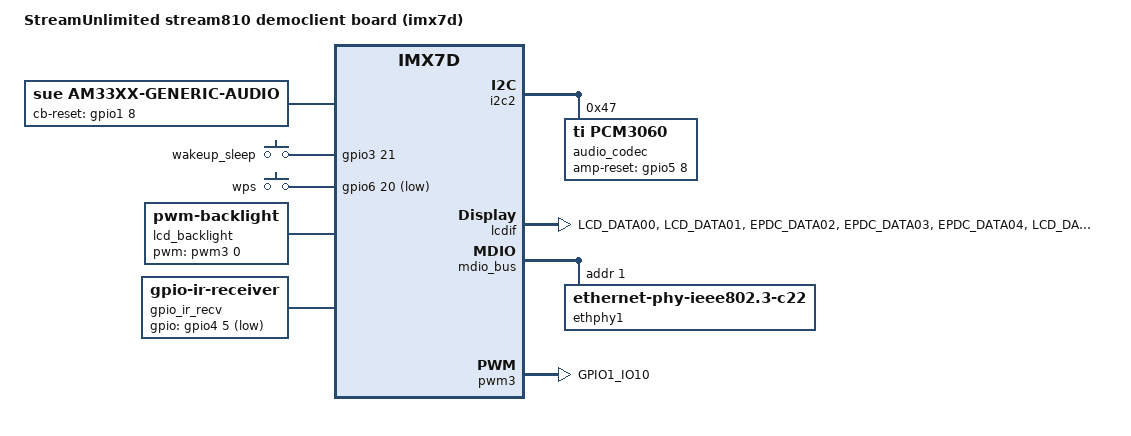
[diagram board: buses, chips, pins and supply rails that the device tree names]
/*
 * This program is free software; you can redistribute it and/or modify
 * it under the terms of the GNU General Public License version 2 as
 * published by the Free Software Foundation.
 */

#include <dt-bindings/input/input.h>

/ {
	model = "StreamUnlimited stream810 democlient board (imx7d)";
	compatible = "sue,stream810-demo", "sue,stream810", "fsl,imx7d";

	audio {
		pinctrl-names = "default";
		pinctrl-0 = <&pinctrl_audio>;

		compatible = "sue,am33xx-generic-audio";
		sue,card-name = "Stream Audio on imx7";

		clocks = <&clks IMX7D_AUDIO_MCLK_ROOT_CLK>,
			 <&clks IMX7D_AUDIO_MCLK_ROOT_CLK>,
			 <&clks IMX7D_PLL_AUDIO_POST_DIV>;
		clock-names = "mclk", "mclk_rx", "pll";

		assigned-clocks = <&clks IMX7D_AUDIO_MCLK_ROOT_SRC>,
				  <&clks IMX7D_AUDIO_MCLK_ROOT_CLK>;
		assigned-clock-parents = <&clks IMX7D_PLL_AUDIO_POST_DIV>;
		assigned-clock-rates = <0>, <24576000>;

		sue,cb-reset-gpio = <&gpio1 8 0>;
		sue,early-mclk;

		links {
			sai1_link: link@0 {
				sue,name = "analog";
				sue,stream-name = "I2S";

				sue,platform = <&sai1>;
				sue,cpu-dai-name = "308a0000.sai";
				sue,codec = <&audio_codec>;
				sue,codec-dai-name = "pcm3060-hifi";
			};
		};
	};

	gpio_keys {
		compatible = "gpio-keys";
		#address-cells = <1>;
		#size-cells = <0>;
		pinctrl-names = "default";
		pinctrl-0 = <&pinctrl_gpio_keys>;

		button@1 {
			label = "wakeup_sleep";
			linux,code = <KEY_SLEEP>;
			gpios = <&gpio3 21 GPIO_ACTIVE_HIGH>;
			gpio-key,wakeup;
		};

		button@2 {
			label = "wps";
			linux,code = <KEY_WPS_BUTTON>;
			gpios = <&gpio6 20 GPIO_ACTIVE_LOW>;
		};
	};

	lcd_backlight {
		compatible = "pwm-backlight";
		pwms = <&pwm3 0 5000000>;
		brightness-levels = <0 3 5 8 10 13 15 18 20 23 26 28 31 33 36 38 41 43 46 48 51 54 56 59 61 64 66 69 71 74
			77 79 82 84 87 89 92 94 97 99 102 105 107 110 112 115 117 120 122 125 127 130 133 135 138 140 143 145 148 150
			153 156 158 161 163 166 168 171 173 176 179 181 184 186 189 191 194 196 199 201 204 207 209 212 214 217 219 222 224 227
			229 232 235 237 240 242 245 247 250 252 255>;
		default-brightness-level = <100>;
		status = "okay";
	};

	gpio_ir_recv {
		compatible = "gpio-ir-receiver";
		pinctrl-names = "default";
		pinctrl-0 = <&pinctrl_ir_recv>;

		gpios = <&gpio4 5 GPIO_ACTIVE_LOW>;
		linux,rc-map-name = "rc-philips";
	};
};

/*
 * FEC1 is disabled per default on the stream810 module for the democlient because the
 * reset_n pin `MX7D_PAD_LCD_DATA15__GPIO3_IO20` collides with `MX7D_PAD_LCD_DATA15__LCD_DATA15`.
 * If you want to enable FEC1, make sure you remove LCD_DATA15 from the LCD pinmux and have the
 * apropriate hardware rework.
 */
&fec1 {
	pinctrl-names = "default";
	pinctrl-0 = <&pinctrl_enet1>;
	status = "disabled";
	pinctrl-assert-gpios = <&gpio1 11 GPIO_ACTIVE_LOW>;


	assigned-clocks = <&clks IMX7D_ENET1_TIME_ROOT_SRC>,
			  <&clks IMX7D_ENET1_TIME_ROOT_CLK>,
			  <&clks IMX7D_ENET1_REF_ROOT_SRC>,
			  <&clks IMX7D_ENET1_REF_ROOT_CLK>;
	assigned-clock-parents = <&clks IMX7D_PLL_ENET_MAIN_100M_CLK>, <0>, <&clks IMX7D_PLL_ENET_MAIN_50M_CLK>, <0>;
	assigned-clock-rates = <0>, <100000000>, <0>, <50000000>;

	/* Override this list so we can change the last one (enet_out) */
	clocks = <&clks IMX7D_ENET_AXI_ROOT_CLK>,
		 <&clks IMX7D_ENET_AXI_ROOT_CLK>,
		 <&clks IMX7D_ENET1_TIME_ROOT_CLK>,
		 <&clks IMX7D_PLL_ENET_MAIN_125M_CLK>,
		 <&clks IMX7D_ENET1_REF_ROOT_CLK>;

	phy-mode = "rmii";

	phy-reset-gpios = <&gpio3 20 GPIO_ACTIVE_LOW>;
	phy-reset-duration = <10>;

	phy-handle = <&ethphy1>;
};

&i2c2 {
	audio_codec: pcm3060@47 {
		pinctrl-names = "default";
		pinctrl-0 = <&pinctrl_codec>;

		compatible = "ti,pcm3060";
		reg = <0x47>;

		sue,amp-reset-gpio = <&gpio5 8 0>;
	};
};

/*
 * NOTES for the last number in every line:
 * 	PAD_CTL_PUS_100K_DOWN	(0 << 5)
 * 	PAD_CTL_PUS_5K_UP	(1 << 5)
 * 	PAD_CTL_PUS_47K_UP	(2 << 5)
 * 	PAD_CTL_PUS_100K_UP	(3 << 5)
 * 	PAD_CTL_PUE		(1 << 4)
 * 	PAD_CTL_HYS		(1 << 3)
 * 	PAD_CTL_SRE_SLOW	(1 << 2)
 * 	PAD_CTL_SRE_FAST	(0 << 2)
 * 	PAD_CTL_DSE_X1		(0 << 0) \
 * 	PAD_CTL_DSE_X2		(2 << 0)  |___ NOTE: the numbering here is not a typo!
 * 	PAD_CTL_DSE_X4		(1 << 0)  |
 * 	PAD_CTL_DSE_X6		(3 << 0) /
 * 	NO_PAD_CTL		(1 << 31): indicate this pin does not need config.
 * 	SIO			(1 << 30): Software Input On Field.
 */
&iomuxc {
	imx7d-sue-demo {
		pinctrl_audio: audiogrp {
			fsl,pins = <
				MX7D_PAD_GPIO1_IO08__GPIO1_IO8	0x00	/* CODEC_NRESET */
			>;
		};

		pinctrl_codec: codecgrp {
			fsl,pins = <
				MX7D_PAD_SD1_DATA3__GPIO5_IO8	0x00	/* AMP mute */
			>;
		};

		pinctrl_enet1: enet1grp {
			fsl,pins = <
				MX7D_PAD_ENET1_RGMII_TX_CTL__ENET1_RGMII_TX_CTL	0x1
				MX7D_PAD_ENET1_RGMII_TD0__ENET1_RGMII_TD0	0x1
				MX7D_PAD_ENET1_RGMII_TD1__ENET1_RGMII_TD1	0x1

				MX7D_PAD_ENET1_RGMII_RX_CTL__ENET1_RGMII_RX_CTL	0x1
				MX7D_PAD_ENET1_RGMII_RD0__ENET1_RGMII_RD0	0x1
				MX7D_PAD_ENET1_RGMII_RD1__ENET1_RGMII_RD1	0x1
				MX7D_PAD_ENET1_RGMII_RXC__ENET1_RX_ER		0x1

				MX7D_PAD_ENET1_TX_CLK__CCM_ENET_REF_CLK1	0x40000001

				/* IRQ */
				MX7D_PAD_GPIO1_IO11__GPIO1_IO11			0x80000000
				/* nRESET pin */
				MX7D_PAD_LCD_DATA15__GPIO3_IO20			0x80000000
			>;
		};

		pinctrl_gpio_keys: gpiokeysgrp {
			fsl,pins = <
				MX7D_PAD_LCD_DATA16__GPIO3_IO21			0x00		/* BUTTON_SENSE */

				/*
				 * I2S_BCLK_OUT2 (now used for the WPS button since
				 * the GPIO1_IO0 pad from before is now used for the watchdog reset.
				 */
				MX7D_PAD_SAI2_TX_BCLK__GPIO6_IO20		0xF0		/* 100k pull-up */
			>;
		};

		pinctrl_ir_recv: irrecvgrp {
			fsl,pins = <
				MX7D_PAD_UART3_TX_DATA__GPIO4_IO5		0x00
			>;
		};

		pinctrl_lcdif_ctrl: lcdifctrlgrp {
			fsl,pins = <
				MX7D_PAD_LCD_CLK__LCD_CLK	0x14
				MX7D_PAD_LCD_HSYNC__LCD_HSYNC	0x14
				MX7D_PAD_LCD_VSYNC__LCD_VSYNC	0x14
				MX7D_PAD_EPDC_BDR1__LCD_ENABLE	0x14
			>;
		};

		pinctrl_lcdif_dat: lcdifdatgrp {
			fsl,pins = <
				MX7D_PAD_LCD_DATA00__LCD_DATA0	0x14
				MX7D_PAD_LCD_DATA01__LCD_DATA1	0x14
				MX7D_PAD_EPDC_DATA02__LCD_DATA2 0x14
				MX7D_PAD_EPDC_DATA03__LCD_DATA3 0x14
				MX7D_PAD_EPDC_DATA04__LCD_DATA4 0x14
				MX7D_PAD_LCD_DATA05__LCD_DATA5	0x14
				MX7D_PAD_LCD_DATA06__LCD_DATA6	0x14
				MX7D_PAD_LCD_DATA07__LCD_DATA7	0x14
				MX7D_PAD_LCD_DATA08__LCD_DATA8	0x14
				MX7D_PAD_LCD_DATA09__LCD_DATA9	0x14
				MX7D_PAD_LCD_DATA10__LCD_DATA10	0x14
				MX7D_PAD_LCD_DATA11__LCD_DATA11	0x14
				MX7D_PAD_LCD_DATA12__LCD_DATA12	0x14
				MX7D_PAD_LCD_DATA13__LCD_DATA13	0x14
				MX7D_PAD_LCD_DATA14__LCD_DATA14	0x14
				MX7D_PAD_LCD_DATA15__LCD_DATA15	0x14
			>;
		};

		pinctrl_pwm3: pwm3grp {
			fsl,pins = <
				MX7D_PAD_GPIO1_IO10__PWM3_OUT	0x14
			>;
		};
	};
};

&iomuxc_lpsr {
	imx7d-sue-demo {
	};
};

&lcdif {
	pinctrl-names = "default";
	pinctrl-0 = <&pinctrl_lcdif_dat
		     &pinctrl_lcdif_ctrl>;
	display = <&display0>;
	status = "okay";

	display0: display {
		bits-per-pixel = <16>;
		bus-width = <16>;

		display-timings {
			native-mode = <&timing0>;
			timing0: 800x480px {
				/* 800x480 */
				clock-frequency = <50000000>;
				hactive = <800>;
				vactive = <480>;
				hfront-porch = <1>;
				hback-porch = <87>;
				hsync-len = <1>;
				vback-porch = <32>;
				vfront-porch = <1>;
				vsync-len = <1>;

				hsync-active = <0>;
				vsync-active = <0>;
				pixelclk-active = <0>;
				de-active = <1>;
			};
		};
	};
};

&mdio_bus {
	ethphy1: ethernet-phy@1 {
		compatible = "ethernet-phy-ieee802.3-c22";
		reg = <1>;
	};
};

&pwm3 {
	pinctrl-names = "default";
	pinctrl-0 = <&pinctrl_pwm3>;
	status = "okay";
};
